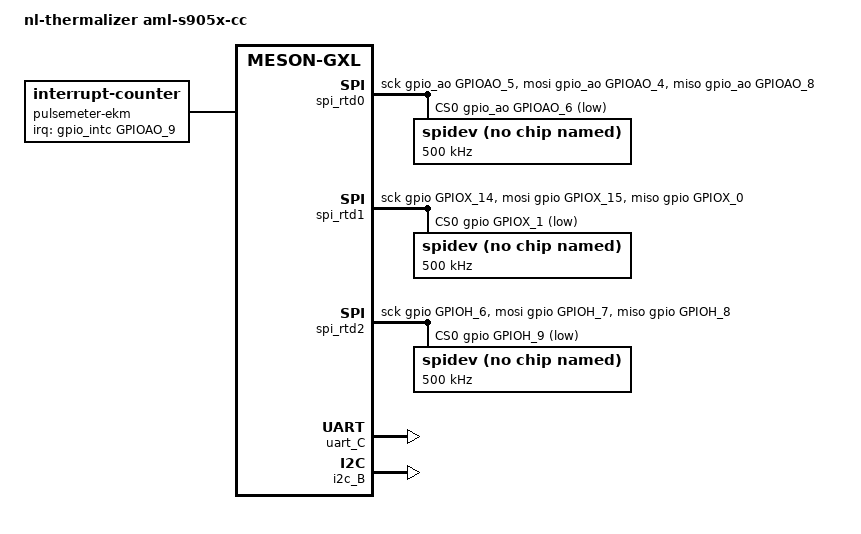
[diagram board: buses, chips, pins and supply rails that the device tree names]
// SPDX-License-Identifier: (GPL-2.0+ OR MIT)

/dts-v1/;
#include "meson-gxl-s905x-northwoodlogic-cc.dtsi"

/ {
	model = "nl-thermalizer aml-s905x-cc";

	aliases {
		spi0 = &spi_rtd0;
		spi1 = &spi_rtd1;
		spi2 = &spi_rtd2;
		serial0 = &uart_A;
		serial1 = &uart_AO;
		serial2 = &uart_C;
		ethernet0 = &ethmac;
	};

/* put the pulse counter input on 
 * 7J1 pins 13 and 14, GPIOAO_9 and GND respectively
 *
 * Pins 19, 21, 23 for UART C + dtr for Arduino module
 *
 * Pins 27, 28 for I2C B mode for character LCD 
 */

	/* RTD Sensor, channel 0
	 * Header 7J1
	 * pin3		clk	GPIOAO_5
	 * pin5		mosi	GPIOAO_4
	 * pin11	miso	GPIOAO_8
	 * pin12	cs	GPIOAO_6
	 * pin1		+3.3v
	 * pin6		GND
	 */
	spi_rtd0: spi_rtd0 {
		status = "okay";
		compatible = "spi-gpio";
		num-chipselects = <1>;
		#address-cells = <1>;
		#size-cells = <0>;

		sck-gpios = <&gpio_ao GPIOAO_5 GPIO_ACTIVE_HIGH>;
		mosi-gpios = <&gpio_ao GPIOAO_4 GPIO_ACTIVE_HIGH>;
		miso-gpios = <&gpio_ao GPIOAO_8 GPIO_ACTIVE_HIGH>;
		cs-gpios = <&gpio_ao GPIOAO_6 GPIO_ACTIVE_LOW>;

		spidev@0 {
			compatible = "rohm,dh2228fv";
			reg = <0>;
			spi-max-frequency = <500000>;
		};
	};

	/* RTD Sensor, channel 1
	 * Header 7J1
	 * pin16	clk,	GPIOX_14
	 * pin18	mosi	GPIOX_15
	 * pin22	miso	GPIOX_0
	 * pin26	cs	GPIOX_1
	 * pin17	+3.3v
	 * pin20	GND
	 */
	spi_rtd1: spi_rtd1 {
		status = "okay";
		compatible = "spi-gpio";
		num-chipselects = <1>;
		#address-cells = <1>;
		#size-cells = <0>;

		sck-gpios = <&gpio GPIOX_14 GPIO_ACTIVE_HIGH>;
		mosi-gpios = <&gpio GPIOX_15 GPIO_ACTIVE_HIGH>;
		miso-gpios = <&gpio GPIOX_0 GPIO_ACTIVE_HIGH>;
		cs-gpios = <&gpio GPIOX_1 GPIO_ACTIVE_LOW>;

		spidev@0 {
			compatible = "rohm,dh2228fv";
			reg = <0>;
			spi-max-frequency = <500000>;
		};
	};

	/* RTD Sensor, channel 2
	 * Header 2J3
	 * pin3		cs	GPIOH_9
	 * pin4		miso	GPIOH_8
	 * pin5		mosi	GPIOH_7
	 * pin6		clk	GPIOH_6
	 * pin7		GND
	 * pin8		+3.3v
	 */
	spi_rtd2: spi_rtd2 {
		status = "okay";
		compatible = "spi-gpio";
		num-chipselects = <1>;
		#address-cells = <1>;
		#size-cells = <0>;

		cs-gpios = <&gpio GPIOH_9 GPIO_ACTIVE_LOW>;
		miso-gpios = <&gpio GPIOH_8 GPIO_ACTIVE_HIGH>;
		mosi-gpios = <&gpio GPIOH_7 GPIO_ACTIVE_HIGH>;
		sck-gpios = <&gpio GPIOH_6 GPIO_ACTIVE_HIGH>;

		spidev@0 {
			compatible = "rohm,dh2228fv";
			reg = <0>;
			spi-max-frequency = <500000>;
		};
	};

	pulsemeter-ekm {
		status = "okay";
		compatible = "interrupt-counter";
		interrupts-extended = <&gpio_intc GPIOAO_9 IRQ_TYPE_EDGE_FALLING>;
		pinctrl-0 = <&pulsemeter_pins>;
		pinctrl-names = "default";

		/*
		 * There's a bug in the meson gpio irqchip driver in that the
		 * output going to the GIC must always be rising edge. The type
		 * is overwritten so it's always IRQ_TYPE_EDGE_RISING. The code
		 * that sets up the port polarity register does work, but by
		 * the time it's called the 'type' has already been overwritten
		 * so the port filter is never configured to invert the signal
		 * and get a falling edge irq.
		 *
		 * FIXME: this comment does not apply to 6.12 src:
		 *
		 * Given the way the pulse meter works, I really really do want
		 * a a falling edge irq. I worked around this with a hard coded
		 * polarity patch in the driver:
		 *
		 *   drivers/irqchip/irq-meson-gpio.c
		 */
	};

};

&pinctrl_aobus {
	pulsemeter_pins: pulsemeter_pins {
		mux {
				groups = "GPIOAO_9";
				function = "gpio_aobus";
				bias-pull-up;
		};
	};
};

/* Header 7J1:
 * pin19 = tx, pin21 = rx, pin23 = dtr
 */
&uart_C {
	status = "okay";
	dtr-gpios = <&gpio GPIOX_11 GPIO_ACTIVE_LOW>;
};

/* Header 7J1:
 * pin27 = sda, pin28 = scl
 */
&i2c_B {
	status = "okay";
};

&gpio_ao {
	gpio-line-names = "UART TX",
			  "UART RX",
			  "Blue LED",
			  "SDCard Voltage Switch",
			  "rtd0-mosi-7J1.5",
			  "rtd0-sclk-7J1.3",
			  "rtd0-cs-7J1.12",
			  "IR In",
			  "rtd0-miso-7J1.11",
			  "pulse-plus-7J1.13",
			  /* GPIO_TEST_N */
			  "7J1 Header Pin15";
};

&gpio {
	gpio-line-names = /* Bank GPIOZ */
			  "", "", "", "", "", "", "",
			  "", "", "", "", "", "", "",
			  "Eth Link LED", "Eth Activity LED",
			  /* Bank GPIOH */
			  "HDMI HPD", "HDMI SDA", "HDMI SCL",
			  "HDMI_5V_EN", "9J1 Header Pin2",
			  "Analog Audio Mute",
			  "rtd2-sclk-2J3.6",
			  "rtd2-mosi-2J3.5",
			  "rtd2-miso-2J3.4",
			  "rtd2-cs-2J3.3",
			  /* Bank BOOT */
			  "eMMC D0", "eMMC D1", "eMMC D2", "eMMC D3",
			  "eMMC D4", "eMMC D5", "eMMC D6", "eMMC D7",
			  "eMMC Clk", "eMMC Reset", "eMMC CMD",
			  "ALT BOOT MODE", "", "", "", "eMMC Data Strobe",
			  /* Bank CARD */
			  "SDCard D1", "SDCard D0", "SDCard CLK", "SDCard CMD",
			  "SDCard D3", "SDCard D2", "SDCard Det",
			  /* Bank GPIODV */
			  "", "", "", "", "", "", "", "", "", "", "", "",
			  "", "", "", "", "", "", "", "", "", "", "", "",
			  "Green LED", "VCCK Enable",
			  "7J1 Header Pin27", "7J1 Header Pin28",
			  "VCCK Regulator", "VDDEE Regulator",
			  /* Bank GPIOX */
			  "rtd1-miso-7J1.22", "rtd1-cs-7J1.26",
			  "relay-k2-7J1.36", "relay-k4-7J1.38",
			  "7J1 Header Pin40", "relay-k3-7J1.37",
			  "7J1 Header Pin33", "relay-k1-7J1.35",
			  "7J1 Header Pin19", "7J1 Header Pin21",
			  "7J1 Header Pin24", "7J1 Header Pin23",
			  "7J1 Header Pin8", "7J1 Header Pin10",
			  "rtd1-sclk-7J1.16", "rtd1-mosi-7J1.18",
			  "7J1 Header Pin32", "7J1 Header Pin29",
			  "7J1 Header Pin31",
			  /* Bank GPIOCLK */
			  "7J1 Header Pin7", "";
};
